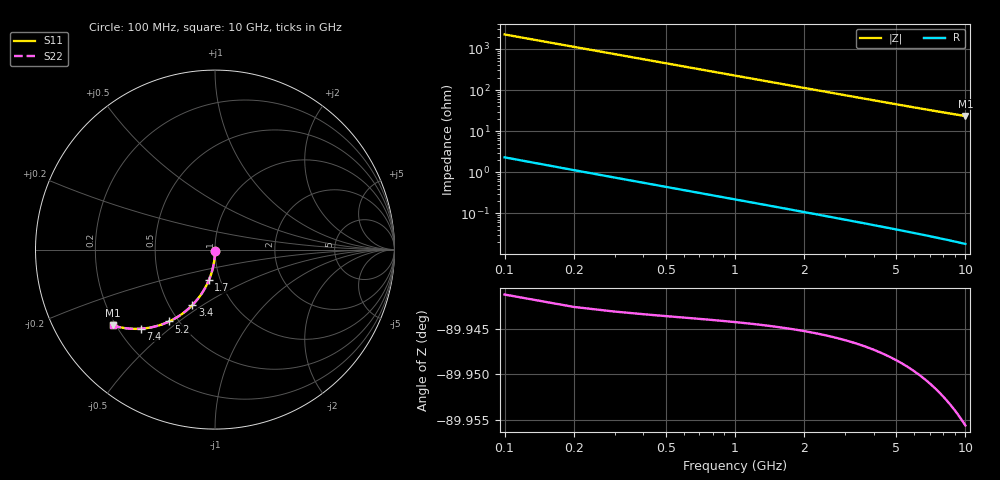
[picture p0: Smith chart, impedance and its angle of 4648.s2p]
# Hz S RI R 50.00
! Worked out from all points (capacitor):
!   100 points, 100 MHz to 10 GHz, reference 50 ohm
!   read as one part in shunt: C = 708 fF near 100 MHz
!   lowest |Z| = 23.3 ohm at 10 GHz (marker M1)
!   S11 on the Smith chart (normalised r, x): 100 MHz: 1.00, -0.02; 1.7 GHz: 0.88, -0.31; 3.4 GHz: 0.65, -0.45; 5.2 GHz: 0.45, -0.46; 7.4 GHz: 0.29, -0.40; 10 GHz: 0.19, -0.32
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1e8  3.86e-05 -0.0104  0.9997 -0.0118  0.9997 -0.0118  3.86e-05 -0.0104
2e8  -0.000341 -0.0209  0.9993 -0.0236  0.9993 -0.0236  -0.000341 -0.0209
3e8  -0.000966 -0.0313  0.9987 -0.0354  0.9987 -0.0354  -0.000966 -0.0313
4e8  -0.00184 -0.0417  0.9978 -0.0471  0.9978 -0.0471  -0.00184 -0.0417
5e8  -0.00295 -0.052  0.9967 -0.0589  0.9967 -0.0589  -0.00295 -0.052
6e8  -0.00431 -0.0624  0.9953 -0.0705  0.9953 -0.0705  -0.00431 -0.0624
8e8  -0.00774 -0.0829  0.9918 -0.0938  0.9918 -0.0938  -0.00774 -0.0829
1.1e9  -0.0147 -0.1132  0.9849 -0.1282  0.9849 -0.1282  -0.0147 -0.1132
1.4e9  -0.0236 -0.1427  0.9758 -0.1618  0.9758 -0.1618  -0.0236 -0.1427
1.7e9  -0.0345 -0.1713  0.9648 -0.1945  0.9648 -0.1945  -0.0345 -0.1713
1.8e9  -0.0386 -0.1806  0.9607 -0.2052  0.9607 -0.2052  -0.0386 -0.1806
2.1e9  -0.0519 -0.2078  0.9473 -0.2365  0.9473 -0.2365  -0.0519 -0.2078
2.5e9  -0.0722 -0.2419  0.9269 -0.2762  0.9269 -0.2762  -0.0722 -0.2419
2.9e9  -0.0949 -0.2736  0.9039 -0.3133  0.9039 -0.3133  -0.0949 -0.2736
3.4e9  -0.1264 -0.3092  0.8722 -0.3559  0.8722 -0.3559  -0.1264 -0.3092
4.2e9  -0.1816 -0.357  0.8163 -0.4148  0.8163 -0.4148  -0.1816 -0.357
5.1e9  -0.2478 -0.3968  0.7493 -0.4673  0.7493 -0.4673  -0.2478 -0.3968
5.2e9  -0.2553 -0.4004  0.7417 -0.4723  0.7417 -0.4723  -0.2553 -0.4004
6.7e9  -0.3655 -0.435  0.6297 -0.5284  0.6297 -0.5284  -0.3655 -0.435
7.4e9  -0.4142 -0.4407  0.58 -0.5444  0.58 -0.5444  -0.4142 -0.4407
8.4e9  -0.4789 -0.44  0.5137 -0.5584  0.5137 -0.5584  -0.4789 -0.44
1e10  -0.5691 -0.4226  0.4203 -0.5652  0.4203 -0.5652  -0.5691 -0.4226
